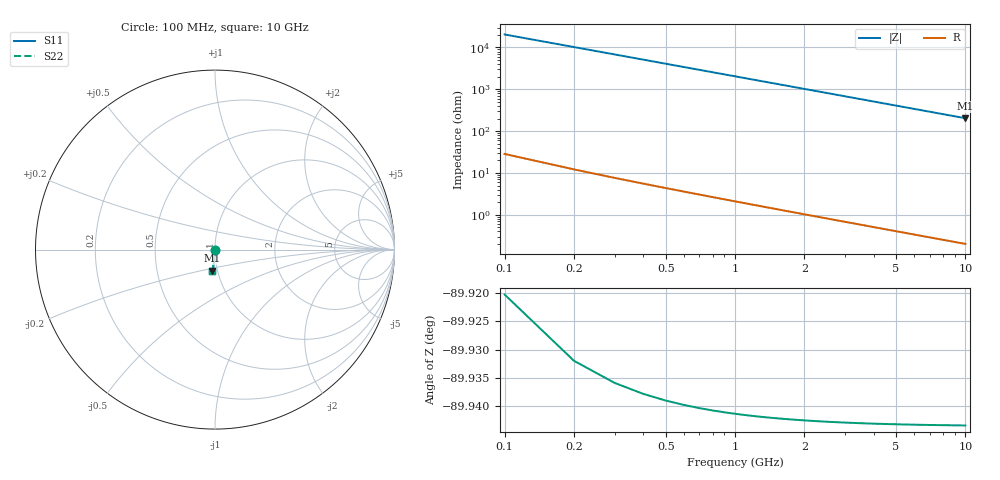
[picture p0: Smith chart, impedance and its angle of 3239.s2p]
# Hz S RI R 50.00
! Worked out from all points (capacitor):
!   100 points, 100 MHz to 10 GHz, reference 50 ohm
!   read as one part in shunt: C = 77.8 fF near 100 MHz
!   lowest |Z| = 203 ohm at 10 GHz (marker M1)
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1e8  1.21e-05 -0.00118  1 -0.00127  1 -0.00127  1.21e-05 -0.00118
2e8  6.51e-06 -0.00236  1 -0.00253  1 -0.00253  6.51e-06 -0.00236
3e8  -2.06e-06 -0.00353  1 -0.0038  1 -0.0038  -2.06e-06 -0.00353
4e8  -1.36e-05 -0.00471  1 -0.00506  1 -0.00506  -1.36e-05 -0.00471
5e8  -2.82e-05 -0.00589  0.9999 -0.00633  0.9999 -0.00633  -2.82e-05 -0.00589
6e8  -4.57e-05 -0.00707  0.9999 -0.00759  0.9999 -0.00759  -4.57e-05 -0.00707
7e8  -6.62e-05 -0.00824  0.9999 -0.00886  0.9999 -0.00886  -6.62e-05 -0.00824
8e8  -8.98e-05 -0.00942  0.9999 -0.0101  0.9999 -0.0101  -8.98e-05 -0.00942
9e8  -0.000116 -0.0106  0.9999 -0.0114  0.9999 -0.0114  -0.000116 -0.0106
1.1e9  -0.000178 -0.013  0.9998 -0.0139  0.9998 -0.0139  -0.000178 -0.013
1.4e9  -0.000294 -0.0165  0.9997 -0.0177  0.9997 -0.0177  -0.000294 -0.0165
1.8e9  -0.000489 -0.0212  0.9995 -0.0228  0.9995 -0.0228  -0.000489 -0.0212
2.1e9  -0.000667 -0.0247  0.9993 -0.0266  0.9993 -0.0266  -0.000667 -0.0247
2.5e9  -0.000947 -0.0294  0.999 -0.0316  0.999 -0.0316  -0.000947 -0.0294
2.9e9  -0.00127 -0.0342  0.9987 -0.0367  0.9987 -0.0367  -0.00127 -0.0342
3.4e9  -0.00175 -0.04  0.9982 -0.043  0.9982 -0.043  -0.00175 -0.04
4.2e9  -0.00267 -0.0494  0.9973 -0.0531  0.9973 -0.0531  -0.00267 -0.0494
5.1e9  -0.00393 -0.06  0.996 -0.0645  0.996 -0.0645  -0.00393 -0.06
5.9e9  -0.00525 -0.0694  0.9947 -0.0746  0.9947 -0.0746  -0.00525 -0.0694
6.7e9  -0.00677 -0.0787  0.9932 -0.0846  0.9932 -0.0846  -0.00677 -0.0787
8.4e9  -0.0106 -0.0984  0.9893 -0.1058  0.9893 -0.1058  -0.0106 -0.0984
1e10  -0.015 -0.1167  0.9849 -0.1256  0.9849 -0.1256  -0.015 -0.1167
